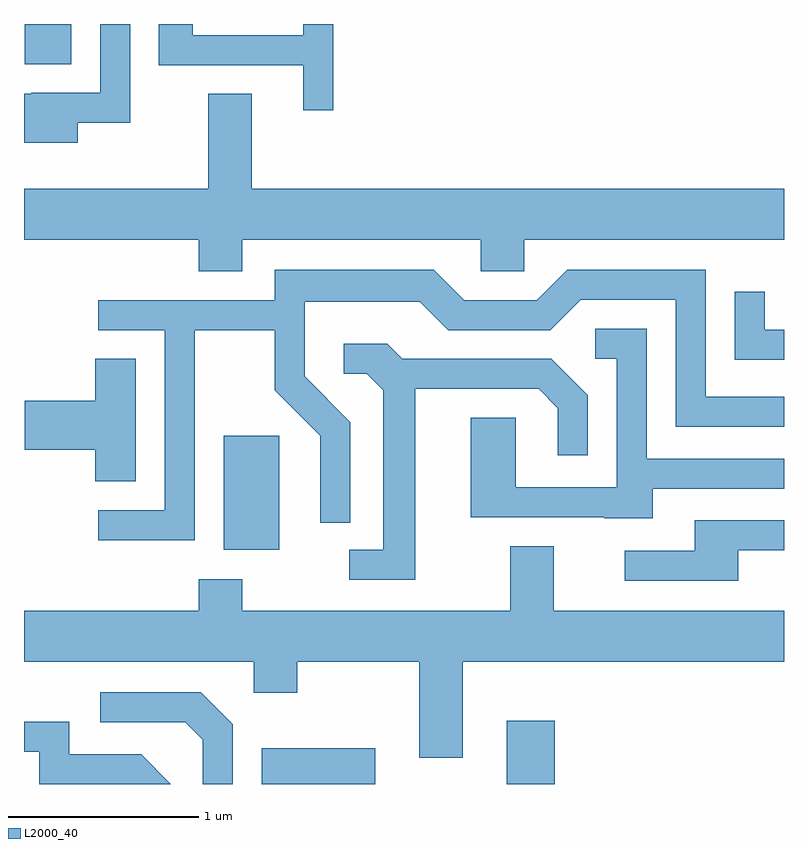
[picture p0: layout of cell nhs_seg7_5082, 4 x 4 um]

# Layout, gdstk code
import gdstk
lib = gdstk.Library(unit=1e-6, precision=1e-09)
def R(c, l, rs):  # rectangles x0, y0, x1, y1
    for r in rs: c.add(gdstk.rectangle(r[:2], r[2:], *l))
def P(c, l, *ps):  # polygons
    for p in ps: c.add(gdstk.Polygon(p, *l))
L2000_40 = (2000, 40)

nhs_seg7_5082 = lib.new_cell('nhs_seg7_5082')
R(nhs_seg7_5082, L2000_40, [(340.861,1800.252,341.459,1800.439), (342.151,1800.252,342.404,1800.584), (340.661,1801.486,340.954,1802.084), (339.616,1804.041,339.859,1804.252)])
P(nhs_seg7_5082, L2000_40, [(341.239,1804.252),(341.081,1804.252),(341.081,1804.194),(340.499,1804.194),(340.499,1804.252),(340.321,1804.252),(340.321,1804.036),(341.081,1804.036),(341.081,1803.798),(341.239,1803.798)],
  [(339.894,1803.731),(340.169,1803.731),(340.169,1804.252),(340.011,1804.252),(340.011,1803.889),(339.65,1803.889),(339.65,1803.884),(339.611,1803.884),(339.611,1803.626),(339.894,1803.626)],
  [(340.759,1803.116),(342.016,1803.116),(342.016,1802.951),(342.244,1802.951),(342.244,1803.116),(343.611,1803.116),(343.611,1803.384),(340.809,1803.384),(340.809,1803.884),(340.581,1803.884),(340.581,1803.384),(339.611,1803.384),(339.611,1803.116),(340.531,1803.116),(340.531,1802.951),(340.759,1802.951)],
  [(340.509,1802.641),(340.931,1802.641),(340.931,1802.324),(341.171,1802.084),(341.171,1801.628),(341.329,1801.628),(341.329,1802.157),(341.089,1802.397),(341.089,1802.791),(341.694,1802.791),(341.844,1802.641),(342.382,1802.641),(342.542,1802.801),(343.041,1802.801),(343.041,1802.131),(343.611,1802.131),(343.611,1802.289),(343.199,1802.289),(343.199,1802.959),(342.469,1802.959),(342.309,1802.799),(341.927,1802.799),(341.767,1802.959),(340.931,1802.959),(340.931,1802.799),(340.003,1802.799),(340.003,1802.641),(340.351,1802.641),(340.351,1801.694),(340.003,1801.694),(340.003,1801.536),(340.509,1801.536)],
  [(343.611,1802.644),(343.509,1802.644),(343.509,1802.843),(343.351,1802.843),(343.351,1802.486),(343.611,1802.486)],
  [(342.919,1801.806),(343.611,1801.806),(343.611,1801.964),(342.889,1801.964),(342.889,1802.649),(342.618,1802.649),(342.618,1802.491),(342.731,1802.491),(342.731,1801.814),(342.199,1801.814),(342.199,1802.179),(341.961,1802.179),(341.961,1801.656),(342.665,1801.656),(342.665,1801.651),(342.919,1801.651)],
  [(341.669,1802.331),(342.319,1802.331),(342.421,1802.229),(342.421,1801.983),(342.579,1801.983),(342.579,1802.297),(342.387,1802.489),(341.602,1802.489),(341.522,1802.569),(341.293,1802.569),(341.293,1802.411),(341.414,1802.411),(341.501,1802.324),(341.501,1801.484),(341.323,1801.484),(341.323,1801.326),(341.669,1801.326)],
  [(340.199,1802.489),(339.986,1802.489),(339.986,1802.269),(339.616,1802.269),(339.616,1802.011),(339.986,1802.011),(339.986,1801.846),(340.199,1801.846)],
  [(343.369,1801.481),(343.611,1801.481),(343.611,1801.639),(343.141,1801.639),(343.141,1801.479),(342.773,1801.479),(342.773,1801.321),(343.369,1801.321)],
  [(341.919,1800.896),(343.611,1800.896),(343.611,1801.164),(342.399,1801.164),(342.399,1801.504),(342.171,1801.504),(342.171,1801.164),(340.759,1801.164),(340.759,1801.329),(340.531,1801.329),(340.531,1801.164),(339.611,1801.164),(339.611,1800.896),(340.821,1800.896),(340.821,1800.731),(341.049,1800.731),(341.049,1800.896),(341.691,1800.896),(341.691,1800.391),(341.919,1800.391)],
  [(340.709,1800.567),(340.542,1800.734),(340.013,1800.734),(340.013,1800.576),(340.459,1800.576),(340.551,1800.484),(340.551,1800.252),(340.709,1800.252)],
  [(340.227,1800.409),(339.849,1800.409),(339.849,1800.579),(339.611,1800.579),(339.611,1800.421),(339.691,1800.421),(339.691,1800.252),(340.384,1800.252)])

lib.write_gds('nhs_seg7_5082.gds')
